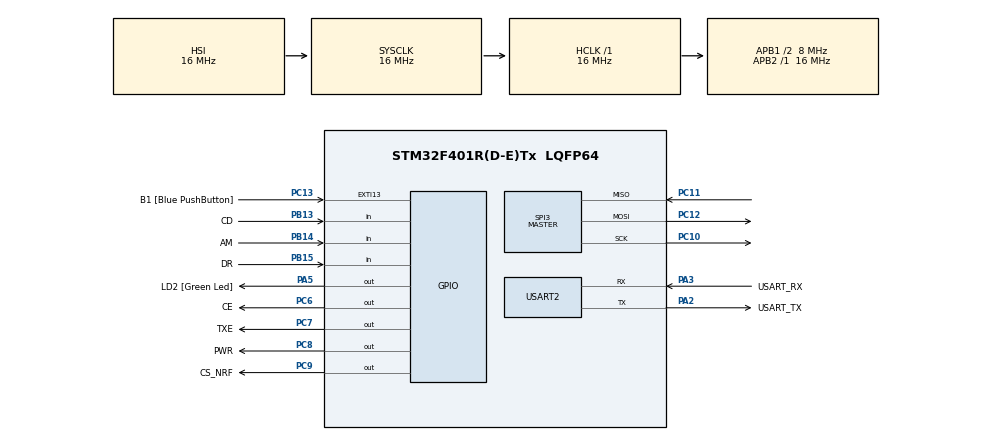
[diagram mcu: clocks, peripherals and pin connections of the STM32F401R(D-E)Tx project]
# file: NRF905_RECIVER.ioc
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Mcu.Family=STM32F4
Mcu.Name=STM32F401R(D-E)Tx
Mcu.Package=LQFP64
NVIC.PriorityGroup=NVIC_PRIORITYGROUP_0
PA13.GPIO_Label=TMS
PA13.Signal=SYS_JTMS-SWDIO
PA14.GPIO_Label=TCK
PA14.Signal=SYS_JTCK-SWCLK
PA2.GPIO_Label=USART_TX
PA2.GPIO_Mode=GPIO_MODE_AF_PP
PA2.GPIO_PuPd=GPIO_NOPULL
PA2.GPIO_Speed=GPIO_SPEED_FREQ_LOW
PA2.Mode=Asynchronous
PA2.Signal=USART2_TX
PA3.GPIO_Label=USART_RX
PA3.GPIO_Mode=GPIO_MODE_AF_PP
PA3.GPIO_PuPd=GPIO_NOPULL
PA3.GPIO_Speed=GPIO_SPEED_FREQ_LOW
PA3.Mode=Asynchronous
PA3.Signal=USART2_RX
PA5.GPIO_Label=LD2 [Green Led]
PA5.GPIO_Mode=GPIO_MODE_OUTPUT_PP
PA5.GPIO_PuPd=GPIO_NOPULL
PA5.GPIO_Speed=GPIO_SPEED_FREQ_LOW
PA5.Signal=GPIO_Output
PB13.GPIO_Label=CD
PB13.Signal=GPIO_Input
PB14.GPIO_Label=AM
PB14.Signal=GPIO_Input
PB15.GPIO_Label=DR
PB15.Signal=GPIO_Input
PB3.GPIO_Label=SWO
PB3.Signal=SYS_JTDO-SWO
PC10.Mode=Full_Duplex_Master
PC10.Signal=SPI3_SCK
PC11.Mode=Full_Duplex_Master
PC11.Signal=SPI3_MISO
PC12.Mode=Full_Duplex_Master
PC12.Signal=SPI3_MOSI
PC13-ANTI_TAMP.GPIO_Label=B1 [Blue PushButton]
PC13-ANTI_TAMP.GPIO_ModeDefaultEXTI=GPIO_MODE_IT_FALLING
PC13-ANTI_TAMP.GPIO_PuPd=GPIO_NOPULL
PC13-ANTI_TAMP.Signal=GPXTI13
PC14-OSC32_IN.Signal=RCC_OSC32_IN
PC15-OSC32_OUT.Signal=RCC_OSC32_OUT
PC6.GPIO_Label=CE
PC6.Signal=GPIO_Output
PC7.GPIO_Label=TXE
PC7.Signal=GPIO_Output
PC8.GPIO_Label=PWR
PC8.Signal=GPIO_Output
PC9.GPIO_Label=CS_NRF
PC9.Signal=GPIO_Output
PH0\ -\ OSC_IN.Signal=RCC_OSC_IN
PH1\ -\ OSC_OUT.Signal=RCC_OSC_OUT
ProjectManager.HeapSize=0x200
ProjectManager.StackSize=0x400
ProjectManager.TargetToolchain=Makefile
RCC.AHBFreq_Value=16000000
RCC.APB1CLKDivider=RCC_HCLK_DIV2
RCC.APB1Freq_Value=8000000
RCC.APB1TimFreq_Value=16000000
RCC.APB2Freq_Value=16000000
RCC.APB2TimFreq_Value=16000000
RCC.CortexFreq_Value=16000000
RCC.HCLKFreq_Value=16000000
RCC.HSE_VALUE=8000000
RCC.HSI_VALUE=16000000
RCC.LSE_VALUE=32768
RCC.PLLN=336
RCC.PLLP=RCC_PLLP_DIV4
RCC.PLLQ=7
RCC.SYSCLKFreq_VALUE=16000000
RCC.VCOOutputFreq_Value=336000000
SPI3.Direction=SPI_DIRECTION_2LINES
SPI3.Mode=SPI_MODE_MASTER
SPI3.VirtualType=VM_MASTER
USART2.VirtualMode=VM_ASYNC
board=NUCLEO-F401RE

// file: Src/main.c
/* USER CODE BEGIN Header */
/**
  ******************************************************************************
  * @file           : main.c
  * @brief          : Main program body
  ******************************************************************************
  * @attention
  *
  * <h2><center>&copy; Copyright (c) 2020 STMicroelectronics.
  * All rights reserved.</center></h2>
  *
  * This software component is licensed by ST under BSD 3-Clause license,
  * the "License"; You may not use this file except in compliance with the
  * License. You may obtain a copy of the License at:
  *                        opensource.org/licenses/BSD-3-Clause
  *
  ******************************************************************************
  */
/* USER CODE END Header */

#include "main.h"
#include "spi.h"
#include "usart.h"
#include "gpio.h"

/* USER CODE BEGIN Includes */
#include "nrf905.h"
/* USER CODE END Includes */

/* USER CODE BEGIN PTD */
/*volatile const struct NRF905_Conf __attribute__((section (".myBufSection"))) NRF905_Config = {
        AUTO_RET_DISABLE,138,0,CRC_CHECK_ENABLE,CRC_MODE_16bit,FREQ_433MHz, PWR_10mdBm,
        0xE7E7E7E7, RX_ADDR_WIDTH_4Byte,28,RED_PWR_DISABLE, TX_ADDR_WIDTH_4Byte, 28,
        OUT_CLOCK_ENABLE, OUT_CLOCK_FREQ_500kHz, CRYSTAL_OSC_FREQ_16MHz};
*/
volatile const uint8_t __attribute__((section (".myBufSection"))) Conf[10] = {0};
/* USER CODE END PTD */

void SystemClock_Config(void);

int main(void)
{
  /* USER CODE BEGIN 1 */
uint8_t tmp;
uint8_t buff[255] = {0};
Packet_send P;
struct NRF905_Conf  NRF905_Config_t;
volatile uint8_t y;
  /* USER CODE END 1 */

  /* MCU Configuration--------------------------------------------------------*/

  /* Reset of all peripherals, Initializes the Flash interface and the Systick. */
  HAL_Init();

  /* Configure the system clock */
  SystemClock_Config();

  /* Initialize all configured peripherals */
  MX_GPIO_Init();
  MX_SPI3_Init();
  MX_USART2_UART_Init();
  /* USER CODE BEGIN 2 */
HAL_GPIO_WritePin(CS_NRF_GPIO_Port, CS_NRF_Pin, GPIO_PIN_SET);
NRF905_POWER_ON();
HAL_Delay(500);
y = sizeof(P);
/*HAL_FLASH_Unlock();
NRF905_Config_t.AUTO_RETRAN = AUTO_RET_DISABLE ;
NRF905_Config_t.CH_NO_1 = 138;
NRF905_Config_t.CH_NO_2 = 0;
NRF905_Config_t.CRC_EN = CRC_CHECK_ENABLE;
NRF905_Config_t.CRC_MODE = CRC_MODE_16bit;
NRF905_Config_t.HFREQ_PLL = FREQ_433MHz ;
NRF905_Config_t.PA_PWR = PWR_10mdBm;
NRF905_Config_t.RX_ADDRESS = 0xE7E7E7E7 ;
NRF905_Config_t.RX_AFW = RX_ADDR_WIDTH_4Byte ;
NRF905_Config_t.RX_PW =  sizeof(P);
NRF905_Config_t.RX_RED_PWR = RED_PWR_DISABLE;
NRF905_Config_t.TX_AFW = TX_ADDR_WIDTH_4Byte;
NRF905_Config_t.TX_PW = sizeof(P);
NRF905_Config_t.UP_CLK_EN = OUT_CLOCK_ENABLE;
NRF905_Config_t.UP_CLK_FREQ =  OUT_CLOCK_FREQ_500kHz;
NRF905_Config_t.XOF = CRYSTAL_OSC_FREQ_16MHz;
HAL_FLASH_Lock();
NRF905_Config_t.AUTO_RETRAN = NRF905_Config.AUTO_RETRAN;
NRF905_Config_t.CH_NO_1 = NRF905_Config.CH_NO_1;
NRF905_Config_t.CH_NO_2 = NRF905_Config.CH_NO_2;
NRF905_Config_t.CRC_EN = NRF905_Config.CRC_EN ;
NRF905_Config_t.CRC_MODE = NRF905_Config.CRC_MODE;
NRF905_Config_t.HFREQ_PLL = NRF905_Config.HFREQ_PLL ;
NRF905_Config_t.PA_PWR = NRF905_Config.PA_PWR;
NRF905_Config_t.RX_ADDRESS = NRF905_Config.RX_ADDRESS ;
NRF905_Config_t.RX_AFW = NRF905_Config.RX_AFW ;
NRF905_Config_t.RX_PW =  NRF905_Config.RX_PW;
NRF905_Config_t.RX_RED_PWR = NRF905_Config.RX_RED_PWR;
NRF905_Config_t.TX_AFW = NRF905_Config.TX_AFW;
NRF905_Config_t.TX_PW = NRF905_Config.TX_PW;
NRF905_Config_t.UP_CLK_EN = NRF905_Config.UP_CLK_EN;
NRF905_Config_t.UP_CLK_FREQ =  NRF905_Config.UP_CLK_FREQ;
NRF905_Config_t.XOF = NRF905_Config.XOF;
*/
memcpy(&NRF905_Config_t, 0x08060000, 10);
if (NRF905_INIT(&NRF905_Config_t ))
{
 // ReciveMode();
 HAL_GPIO_WritePin(TXE_GPIO_Port, TXE_Pin, GPIO_PIN_RESET);
 HAL_GPIO_WritePin(CE_GPIO_Port, CE_Pin, GPIO_PIN_SET);
 HAL_Delay(5);
}
  /* USER CODE END 2 */

  /* Infinite loop */
  /* USER CODE BEGIN WHILE */
  while (1)
  {
    y = HAL_GPIO_ReadPin(CD_GPIO_Port, CD_Pin);
    y = HAL_GPIO_ReadPin(AM_GPIO_Port, AM_Pin);
    y = HAL_GPIO_ReadPin(DR_GPIO_Port, DR_Pin);
    if (HAL_GPIO_ReadPin(DR_GPIO_Port, DR_Pin) == 1)
     {
      ReadReciveData(&P, sizeof(P));
      tmp = sprintf(buff, "HUMM - %d %%RH\n\rPRESS - %d hPa\n\rTEMP - %d C\n\rCOUNT - %d \n\n\r", P.humm/1024, P.press/100, P.temp/100, P.count );
		  HAL_UART_Transmit(&huart2, &buff, tmp+1, 10);
     }
    /* USER CODE END WHILE */

  }
}

void SystemClock_Config(void)
{
  RCC_OscInitTypeDef RCC_OscInitStruct = {0};
  RCC_ClkInitTypeDef RCC_ClkInitStruct = {0};

  /** Configure the main internal regulator output voltage
  */
  __HAL_RCC_PWR_CLK_ENABLE();
  __HAL_PWR_VOLTAGESCALING_CONFIG(PWR_REGULATOR_VOLTAGE_SCALE2);
  /** Initializes the CPU, AHB and APB busses clocks
  */
  RCC_OscInitStruct.OscillatorType = RCC_OSCILLATORTYPE_HSI;
  RCC_OscInitStruct.HSIState = RCC_HSI_ON;
  RCC_OscInitStruct.HSICalibrationValue = RCC_HSICALIBRATION_DEFAULT;
  RCC_OscInitStruct.PLL.PLLState = RCC_PLL_NONE;
  if (HAL_RCC_OscConfig(&RCC_OscInitStruct) != HAL_OK)
  {
    Error_Handler();
  }
  /** Initializes the CPU, AHB and APB busses clocks
  */
  RCC_ClkInitStruct.ClockType = RCC_CLOCKTYPE_HCLK|RCC_CLOCKTYPE_SYSCLK
                              |RCC_CLOCKTYPE_PCLK1|RCC_CLOCKTYPE_PCLK2;
  RCC_ClkInitStruct.SYSCLKSource = RCC_SYSCLKSOURCE_HSI;
  RCC_ClkInitStruct.AHBCLKDivider = RCC_SYSCLK_DIV1;
  RCC_ClkInitStruct.APB1CLKDivider = RCC_HCLK_DIV2;
  RCC_ClkInitStruct.APB2CLKDivider = RCC_HCLK_DIV1;

  if (HAL_RCC_ClockConfig(&RCC_ClkInitStruct, FLASH_LATENCY_0) != HAL_OK)
  {
    Error_Handler();
  }
}

void Error_Handler(void)
{
}

/************************ (C) COPYRIGHT STMicroelectronics *****END OF FILE****/
